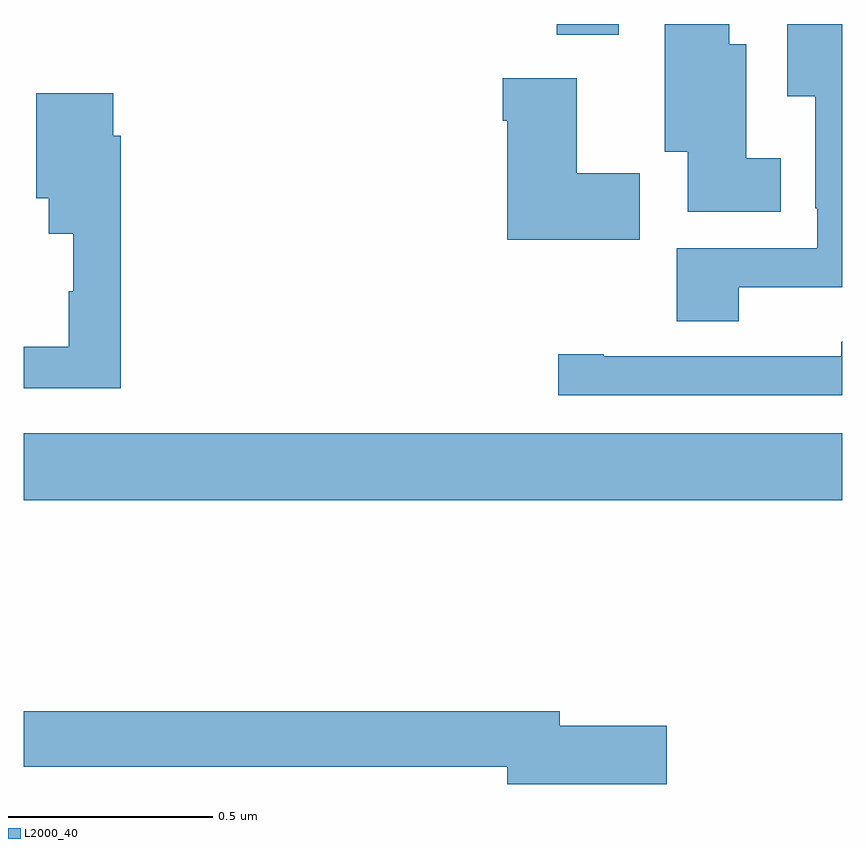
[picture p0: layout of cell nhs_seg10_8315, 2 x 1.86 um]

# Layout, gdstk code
import gdstk
lib = gdstk.Library(unit=1e-6, precision=1e-09)
def R(c, l, rs):  # rectangles x0, y0, x1, y1
    for r in rs: c.add(gdstk.rectangle(r[:2], r[2:], *l))
def P(c, l, *ps):  # polygons
    for p in ps: c.add(gdstk.Polygon(p, *l))
L2000_40 = (2000, 40)

nhs_seg10_8315 = lib.new_cell('nhs_seg10_8315')
R(nhs_seg10_8315, L2000_40, [(215,1280.336,217,1280.5), (216.302,1281.474,216.454,1281.5)])
P(nhs_seg10_8315, L2000_40, [(216.748,1280.856),(217,1280.856),(217,1281.5),(216.866,1281.5),(216.866,1281.323),(216.935,1281.323),(216.935,1281.049),(216.939,1281.049),(216.939,1280.952),(216.596,1280.952),(216.596,1280.773),(216.748,1280.773)],
  [(216.85,1281.172),(216.766,1281.172),(216.766,1281.451),(216.724,1281.451),(216.724,1281.5),(216.566,1281.5),(216.566,1281.188),(216.623,1281.188),(216.623,1281.041),(216.85,1281.041)],
  [(216.505,1281.135),(216.352,1281.135),(216.352,1281.367),(216.17,1281.367),(216.17,1281.263),(216.182,1281.263),(216.182,1280.972),(216.505,1280.972)],
  [(215.237,1281.227),(215.218,1281.227),(215.218,1281.331),(215.03,1281.331),(215.03,1281.074),(215.06,1281.074),(215.06,1280.987),(215.12,1280.987),(215.12,1280.847),(215.109,1280.847),(215.109,1280.711),(215,1280.711),(215,1280.61),(215.237,1280.61)],
  [(217,1280.724),(216.998,1280.722),(216.998,1280.688),(216.418,1280.688),(216.418,1280.693),(216.306,1280.693),(216.306,1280.592),(217,1280.592)],
  [(216.571,1279.784),(216.31,1279.784),(216.31,1279.82),(215,1279.82),(215,1279.684),(216.182,1279.684),(216.182,1279.642),(216.571,1279.642)])

lib.write_gds('nhs_seg10_8315.gds')
